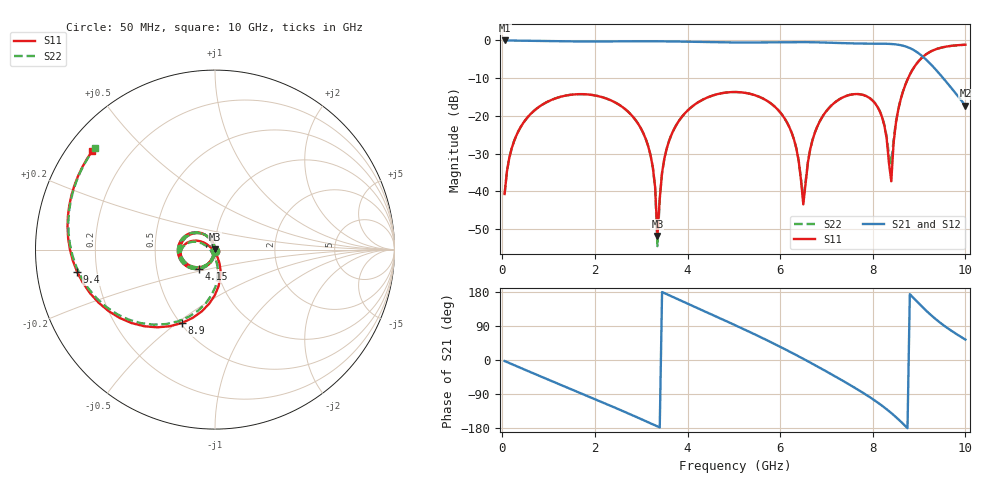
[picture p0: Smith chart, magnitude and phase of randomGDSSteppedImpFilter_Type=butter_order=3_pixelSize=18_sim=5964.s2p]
! freq	dB(S11)	phase(S11)	dB(S12)	phase(S12)
!  dB(S21)	phase(S21)	dB(S22)	phase(S22)
!S-par simulation data
#  GHz  S  DB  R 50
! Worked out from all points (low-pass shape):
!   200 points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, 50 MHz to 10 GHz, reference 50 ohm
!   highest |S21| = 0.00 dB at 50 MHz (marker M1); lowest = -17.3 dB at 10 GHz (marker M2)
!   |S21| within 3 dB of the highest: start of sweep to 8.943 GHz
!   lowest |S11| = -51.9 dB at 3.35 GHz (marker M3), VSWR 1.01, Z = 49.8 + j0.0903 ohm
!   |S11| at or under -10 dB: start of sweep to 8.764 GHz
!   |S22| runs from -54.6 to -1.1 dB; largest |S21 - S12| = 0
!   S11 on the Smith chart (normalised r, x): 50 MHz: 1.00, -0.02; 4.15 GHz: 0.82, -0.18; 8.9 GHz: 0.51, -0.52; 9.4 GHz: 0.13, -0.08; 10 GHz: 0.07, +0.35
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0.05  -40.75 -93.1  -0.00 -2.7  -0.00 -2.7  -40.75 -93.1
0.5  -21.09 -116.6  -0.07 -26.3  -0.07 -26.3  -21.09 -116.6
1.75  -14.25 178.8  -0.27 -90.5  -0.27 -90.5  -14.25 178.7
3.05  -24.73 111.7  -0.21 -158.8  -0.21 -158.8  -24.73 110.8
3.25  -33.61 102.8  -0.21 -169.7  -0.21 -169.7  -33.61 100.1
3.35  -51.87 159.1  -0.22 -175.2  -0.22 -175.2  -54.58 171.2
3.4  -41.95 -97.6  -0.22 -177.9  -0.22 -177.9  -42.06 -89.4
3.6  -26.70 -100.9  -0.25 171.0  -0.25 171.0  -26.70 -99.5
4.15  -17.06 -130.1  -0.38 140.6  -0.38 140.6  -17.06 -129.6
5.05  -13.69 -179.2  -0.55 90.6  -0.55 90.6  -13.69 -178.8
6.1  -20.76 121.6  -0.45 28.7  -0.45 28.7  -20.75 122.4
6.35  -28.67 111.4  -0.44 12.8  -0.44 12.8  -28.63 113.2
6.5  -43.48 177.8  -0.45 3.1  -0.45 3.1  -42.26 178.6
6.7  -26.36 -108.0  -0.48 -10.1  -0.48 -10.1  -26.33 -109.1
7.8  -14.49 -179.1  -0.84 -87.4  -0.84 -87.4  -14.48 -178.1
8.2  -20.34 150.7  -0.87 -120.6  -0.87 -120.6  -20.22 155.4
8.35  -32.59 155.2  -0.91 -134.9  -0.91 -134.9  -30.53 174.2
8.4  -37.37 -101.8  -0.94 -140.0  -0.94 -140.0  -32.65 -121.7
8.55  -18.40 -75.1  -1.14 -156.2  -1.14 -156.2  -18.27 -82.2
8.9  -6.96 -114.3  -2.67 161.2  -2.67 161.2  -6.95 -117.2
9.4  -2.18 -170.8  -8.28 103.8  -8.28 103.8  -2.18 -172.8
10  -1.14 141.4  -17.31 53.9  -17.31 53.9  -1.13 139.6
